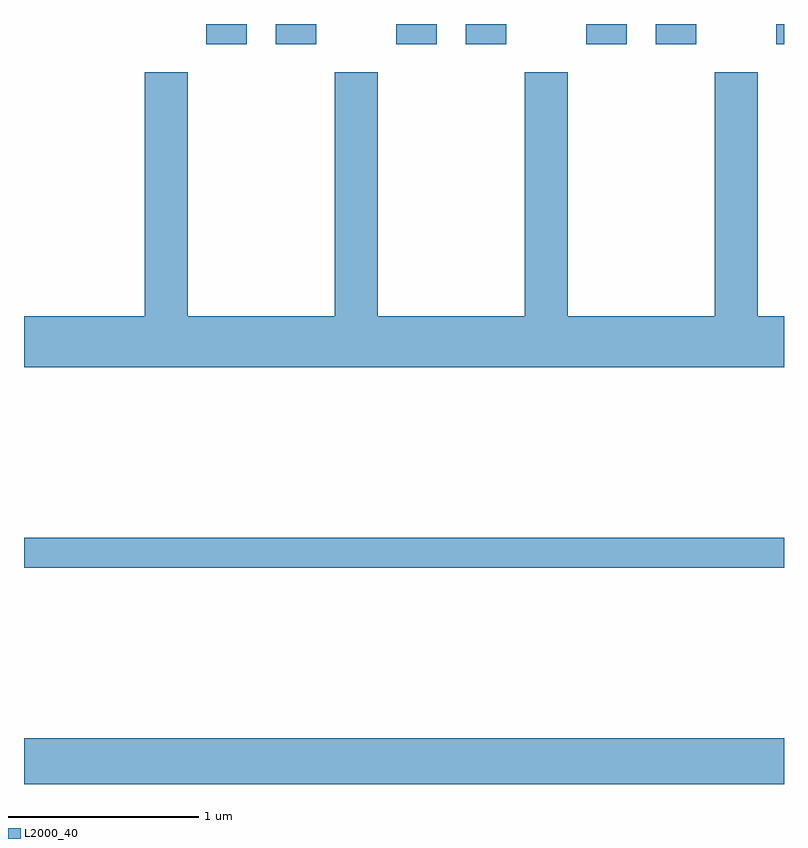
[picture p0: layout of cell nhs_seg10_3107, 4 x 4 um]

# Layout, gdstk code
import gdstk
lib = gdstk.Library(unit=1e-6, precision=1e-09)
def R(c, l, rs):  # rectangles x0, y0, x1, y1
    for r in rs: c.add(gdstk.rectangle(r[:2], r[2:], *l))
def P(c, l, *ps):  # polygons
    for p in ps: c.add(gdstk.Polygon(p, *l))
L2000_40 = (2000, 40)

nhs_seg10_3107 = lib.new_cell('nhs_seg10_3107')
R(nhs_seg10_3107, L2000_40, [(275.611,2200.522,279.611,2200.764), (275.611,2201.661,279.611,2201.819), (276.571,2204.416,276.784,2204.522), (276.936,2204.416,277.149,2204.522), (277.571,2204.416,277.784,2204.522), (277.936,2204.416,278.149,2204.522), (278.571,2204.416,278.784,2204.522), (278.936,2204.416,279.149,2204.522), (279.571,2204.416,279.611,2204.522)])
P(nhs_seg10_3107, L2000_40, [(279.611,2202.984),(279.474,2202.984),(279.474,2204.269),(279.246,2204.269),(279.246,2202.984),(278.474,2202.984),(278.474,2204.269),(278.246,2204.269),(278.246,2202.984),(277.474,2202.984),(277.474,2204.269),(277.246,2204.269),(277.246,2202.984),(276.474,2202.984),(276.474,2204.269),(276.246,2204.269),(276.246,2202.984),(275.611,2202.984),(275.611,2202.716),(279.611,2202.716)])

lib.write_gds('nhs_seg10_3107.gds')
